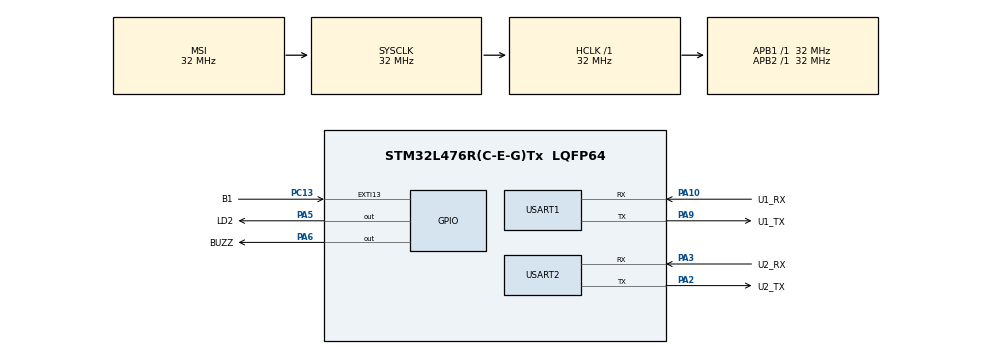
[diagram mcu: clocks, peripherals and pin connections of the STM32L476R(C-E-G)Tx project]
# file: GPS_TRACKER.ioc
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Mcu.Family=STM32L4
Mcu.Name=STM32L476R(C-E-G)Tx
Mcu.Package=LQFP64
NVIC.EXTI15_10_IRQn=true\:0\:0\:false\:false\:true\:true\:true
NVIC.PriorityGroup=NVIC_PRIORITYGROUP_4
NVIC.TIM2_IRQn=true\:0\:0\:false\:false\:true\:true\:true
NVIC.TIM3_IRQn=true\:0\:0\:false\:false\:true\:true\:true
NVIC.USART1_IRQn=true\:0\:0\:false\:false\:true\:true\:true
NVIC.USART2_IRQn=true\:0\:0\:false\:false\:true\:true\:true
PA10.GPIO_Label=U1_RX
PA10.Mode=Asynchronous
PA10.Signal=USART1_RX
PA2.GPIO_Label=U2_TX
PA2.Mode=Asynchronous
PA2.Signal=USART2_TX
PA3.GPIO_Label=U2_RX
PA3.Mode=Asynchronous
PA3.Signal=USART2_RX
PA5.GPIO_Label=LD2
PA5.Signal=GPIO_Output
PA6.GPIO_Label=BUZZ
PA6.Signal=GPIO_Output
PA9.GPIO_Label=U1_TX
PA9.Mode=Asynchronous
PA9.Signal=USART1_TX
PC13.GPIO_Label=B1
PC13.GPIO_ModeDefaultEXTI=GPIO_MODE_IT_FALLING
PC13.Signal=GPXTI13
ProjectManager.HeapSize=0x200
ProjectManager.StackSize=0x400
ProjectManager.TargetToolchain=STM32CubeIDE
RCC.ADCFreq_Value=128000000
RCC.AHBFreq_Value=32000000
RCC.APB1Freq_Value=32000000
RCC.APB1TimFreq_Value=32000000
RCC.APB2Freq_Value=32000000
RCC.APB2TimFreq_Value=32000000
RCC.CortexFreq_Value=32000000
RCC.HCLKFreq_Value=32000000
RCC.HSE_VALUE=8000000
RCC.HSI_VALUE=16000000
RCC.LSE_VALUE=32768
RCC.MSIClockRange=RCC_MSIRANGE_10
RCC.MSI_VALUE=32000000
RCC.SYSCLKFreq_VALUE=32000000
RCC.USBFreq_Value=128000000
RCC.VCOOutputFreq_Value=256000000
TIM2.Period=999
TIM2.Prescaler=31
TIM3.Period=999
TIM3.Prescaler=31
USART1.VirtualMode-Asynchronous=VM_ASYNC
USART2.VirtualMode-Asynchronous=VM_ASYNC
VP_TIM2_VS_ClockSourceINT.Mode=Internal
VP_TIM3_VS_ClockSourceINT.Mode=Internal
board=custom

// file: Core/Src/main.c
/* USER CODE BEGIN Header */
/**
 ******************************************************************************
 * @file           : main.c
 * @brief          : Main program body
 ******************************************************************************
 * @attention
 *
 * <h2><center>&copy; Copyright (c) 2020 STMicroelectronics.
 * All rights reserved.</center></h2>
 *
 * This software component is licensed by ST under BSD 3-Clause license,
 * the "License"; You may not use this file except in compliance with the
 * License. You may obtain a copy of the License at:
 *                        opensource.org/licenses/BSD-3-Clause
 *
 ******************************************************************************
 */
/* USER CODE END Header */

#include "main.h"

/* USER CODE BEGIN Includes */

#include "tracker.h"
/* USER CODE END Includes */

TIM_HandleTypeDef htim2;
TIM_HandleTypeDef htim3;

UART_HandleTypeDef huart1;
UART_HandleTypeDef huart2;

/* USER CODE BEGIN PV */
but_fsm_t button;
tracker_fsm_t tracker;
/* USER CODE END PV */

void SystemClock_Config(void);
static void MX_GPIO_Init(void);
static void MX_TIM2_Init(void);
static void MX_TIM3_Init(void);
static void MX_USART1_UART_Init(void);
static void MX_USART2_UART_Init(void);

/* USER CODE BEGIN 0 */
void HAL_GPIO_EXTI_Callback(uint16_t GPIO_Pin)
{
	if ( button.state == STATE_BUT_WAITING ) {
		button.event = EVT_BUT_PRESSED;
		button.new_event = true;
	}
}

void HAL_UART_TxCpltCallback(UART_HandleTypeDef *huart) {
	if (huart->Instance == USART1) {
		if (tracker.state == STATE_TRACKER_SEND_REQUEST_GPS) {
			//HAL_GPIO_WritePin(LD2_GPIO_Port, LD2_Pin, 1);
			tracker_set_event(&tracker, EVT_TRACKER_GPS_REQUEST_SENT);
		}
	}
}

void HAL_UART_RxCpltCallback(UART_HandleTypeDef *huart)
{
	if (huart->Instance == USART1) {

		if (tracker.state == STATE_TRACKER_WAITING_GPS_RESPONSE) {
			tracker.flag.start_to_request_nmea_data = false;
			memcpy(tracker.data, tracker.buff.rx, ENOUGH_DATA_BYTES);
			memset(tracker.buff.rx, '\0', SIZE);
			tracker_set_event(&tracker, EVT_TRACKER_GPS_RESPONSE_RECEIVED);
		}
	}
}

void HAL_TIM_PeriodElapsedCallback(TIM_HandleTypeDef *htim) {

	if(htim->Instance == TIM2) { /* ONLY FOR BUTTON */
		if (button.start_countdown == true) {
			button.countdown++;
		}

		/* 10 mSeg elapsed*/
		if (button.countdown >= TICK) {
			button.countdown = 0;
			button.start_countdown = false;
			button.new_event = true;
			button.event = EVT_BUT_TIMEOUT;
		}
	}

	if (htim->Instance == TIM3) { /* ONLY FOR TRACKER */

		if ( tracker.flag.start_to_request_nmea_data == true ) {
			tracker.counter_request_nmea_data++;
		} else {
			tracker.counter_request_nmea_data = 0;
		}

		if ( tracker.counter_request_nmea_data >= 1000 ) {
			tracker.counter_request_nmea_data = 0;
			HAL_UART_Transmit_IT(&huart1, (uint8_t *)"AT+QGNSSRD=\"NMEA/RMC\"\r", strlen("AT+QGNSSRD=\"NMEA/RMC\"\r"));
		}

		if ( tracker.state == STATE_TRACKER_IDLE ) {
			if ( *tracker.time >= TIME_NEEDED_TO_ALARM ) { //two seconds
				tracker_set_event(&tracker, EVT_TRACKER_ALERT_ON);
			}

		}

		if ( tracker.flag.start_counter_request == true ) {
			tracker.counter_request++;
		} else {
			tracker.counter_request = 0;
		}

		if ( tracker.counter_request >= TIME_TO_START_SYSTEM ) {
			tracker_set_event(&tracker, EVT_TRACKER_TIMEOUT_REQUEST_GPS);
		}

	}
}

/* USER CODE END 0 */

int main(void)
{

	/* MCU Configuration--------------------------------------------------------*/

	/* Reset of all peripherals, Initializes the Flash interface and the Systick. */
	HAL_Init();

	/* Configure the system clock */
	SystemClock_Config();

	/* Initialize all configured peripherals */
	MX_GPIO_Init();
	MX_TIM2_Init();
	MX_TIM3_Init();
	MX_USART1_UART_Init();
	MX_USART2_UART_Init();
	/* USER CODE BEGIN 2 */
	HAL_TIM_Base_Start_IT(&htim2);
	HAL_TIM_Base_Start_IT(&htim3);
	but_fsm_init(&button);
	tracker_fsm_init(&tracker, &button);
	/* USER CODE END 2 */

	/* Infinite loop */
	/* USER CODE BEGIN WHILE */
	while (1)
	{

		but_fsm_run(&button);
		tracker_fsm_run(&tracker);

		/* USER CODE END WHILE */

	}
}

void SystemClock_Config(void)
{
	RCC_OscInitTypeDef RCC_OscInitStruct = {0};
	RCC_ClkInitTypeDef RCC_ClkInitStruct = {0};
	RCC_PeriphCLKInitTypeDef PeriphClkInit = {0};

	/** Initializes the CPU, AHB and APB busses clocks
	 */
	RCC_OscInitStruct.OscillatorType = RCC_OSCILLATORTYPE_MSI;
	RCC_OscInitStruct.MSIState = RCC_MSI_ON;
	RCC_OscInitStruct.MSICalibrationValue = 0;
	RCC_OscInitStruct.MSIClockRange = RCC_MSIRANGE_10;
	RCC_OscInitStruct.PLL.PLLState = RCC_PLL_NONE;
	if (HAL_RCC_OscConfig(&RCC_OscInitStruct) != HAL_OK)
	{
		Error_Handler();
	}
	/** Initializes the CPU, AHB and APB busses clocks
	 */
	RCC_ClkInitStruct.ClockType = RCC_CLOCKTYPE_HCLK|RCC_CLOCKTYPE_SYSCLK
			|RCC_CLOCKTYPE_PCLK1|RCC_CLOCKTYPE_PCLK2;
	RCC_ClkInitStruct.SYSCLKSource = RCC_SYSCLKSOURCE_MSI;
	RCC_ClkInitStruct.AHBCLKDivider = RCC_SYSCLK_DIV1;
	RCC_ClkInitStruct.APB1CLKDivider = RCC_HCLK_DIV1;
	RCC_ClkInitStruct.APB2CLKDivider = RCC_HCLK_DIV1;

	if (HAL_RCC_ClockConfig(&RCC_ClkInitStruct, FLASH_LATENCY_1) != HAL_OK)
	{
		Error_Handler();
	}
	PeriphClkInit.PeriphClockSelection = RCC_PERIPHCLK_USART1|RCC_PERIPHCLK_USART2;
	PeriphClkInit.Usart1ClockSelection = RCC_USART1CLKSOURCE_PCLK2;
	PeriphClkInit.Usart2ClockSelection = RCC_USART2CLKSOURCE_PCLK1;
	if (HAL_RCCEx_PeriphCLKConfig(&PeriphClkInit) != HAL_OK)
	{
		Error_Handler();
	}
	/** Configure the main internal regulator output voltage
	 */
	if (HAL_PWREx_ControlVoltageScaling(PWR_REGULATOR_VOLTAGE_SCALE1) != HAL_OK)
	{
		Error_Handler();
	}
}

static void MX_TIM2_Init(void)
{

	TIM_ClockConfigTypeDef sClockSourceConfig = {0};
	TIM_MasterConfigTypeDef sMasterConfig = {0};

	htim2.Instance = TIM2;
	htim2.Init.Prescaler = 31;
	htim2.Init.CounterMode = TIM_COUNTERMODE_UP;
	htim2.Init.Period = 999;
	htim2.Init.ClockDivision = TIM_CLOCKDIVISION_DIV1;
	htim2.Init.AutoReloadPreload = TIM_AUTORELOAD_PRELOAD_DISABLE;
	if (HAL_TIM_Base_Init(&htim2) != HAL_OK)
	{
		Error_Handler();
	}
	sClockSourceConfig.ClockSource = TIM_CLOCKSOURCE_INTERNAL;
	if (HAL_TIM_ConfigClockSource(&htim2, &sClockSourceConfig) != HAL_OK)
	{
		Error_Handler();
	}
	sMasterConfig.MasterOutputTrigger = TIM_TRGO_RESET;
	sMasterConfig.MasterSlaveMode = TIM_MASTERSLAVEMODE_DISABLE;
	if (HAL_TIMEx_MasterConfigSynchronization(&htim2, &sMasterConfig) != HAL_OK)
	{
		Error_Handler();
	}

}

static void MX_TIM3_Init(void)
{

	TIM_ClockConfigTypeDef sClockSourceConfig = {0};
	TIM_MasterConfigTypeDef sMasterConfig = {0};

	htim3.Instance = TIM3;
	htim3.Init.Prescaler = 31;
	htim3.Init.CounterMode = TIM_COUNTERMODE_UP;
	htim3.Init.Period = 999;
	htim3.Init.ClockDivision = TIM_CLOCKDIVISION_DIV1;
	htim3.Init.AutoReloadPreload = TIM_AUTORELOAD_PRELOAD_DISABLE;
	if (HAL_TIM_Base_Init(&htim3) != HAL_OK)
	{
		Error_Handler();
	}
	sClockSourceConfig.ClockSource = TIM_CLOCKSOURCE_INTERNAL;
	if (HAL_TIM_ConfigClockSource(&htim3, &sClockSourceConfig) != HAL_OK)
	{
		Error_Handler();
	}
	sMasterConfig.MasterOutputTrigger = TIM_TRGO_RESET;
	sMasterConfig.MasterSlaveMode = TIM_MASTERSLAVEMODE_DISABLE;
	if (HAL_TIMEx_MasterConfigSynchronization(&htim3, &sMasterConfig) != HAL_OK)
	{
		Error_Handler();
	}

}

static void MX_USART1_UART_Init(void)
{

	huart1.Instance = USART1;
	huart1.Init.BaudRate = 115200;
	huart1.Init.WordLength = UART_WORDLENGTH_8B;
	huart1.Init.StopBits = UART_STOPBITS_1;
	huart1.Init.Parity = UART_PARITY_NONE;
	huart1.Init.Mode = UART_MODE_TX_RX;
	huart1.Init.HwFlowCtl = UART_HWCONTROL_NONE;
	huart1.Init.OverSampling = UART_OVERSAMPLING_16;
	huart1.Init.OneBitSampling = UART_ONE_BIT_SAMPLE_DISABLE;
	huart1.AdvancedInit.AdvFeatureInit = UART_ADVFEATURE_NO_INIT;
	if (HAL_UART_Init(&huart1) != HAL_OK)
	{
		Error_Handler();
	}

}

static void MX_USART2_UART_Init(void)
{

	huart2.Instance = USART2;
	huart2.Init.BaudRate = 115200;
	huart2.Init.WordLength = UART_WORDLENGTH_8B;
	huart2.Init.StopBits = UART_STOPBITS_1;
	huart2.Init.Parity = UART_PARITY_NONE;
	huart2.Init.Mode = UART_MODE_TX_RX;
	huart2.Init.HwFlowCtl = UART_HWCONTROL_NONE;
	huart2.Init.OverSampling = UART_OVERSAMPLING_16;
	huart2.Init.OneBitSampling = UART_ONE_BIT_SAMPLE_DISABLE;
	huart2.AdvancedInit.AdvFeatureInit = UART_ADVFEATURE_NO_INIT;
	if (HAL_UART_Init(&huart2) != HAL_OK)
	{
		Error_Handler();
	}

}

static void MX_GPIO_Init(void)
{
	GPIO_InitTypeDef GPIO_InitStruct = {0};

	/* GPIO Ports Clock Enable */
	__HAL_RCC_GPIOC_CLK_ENABLE();
	__HAL_RCC_GPIOA_CLK_ENABLE();

	/*Configure GPIO pin Output Level */
	HAL_GPIO_WritePin(GPIOA, LD2_Pin|BUZZ_Pin, GPIO_PIN_RESET);

	/*Configure GPIO pin : B1_Pin */
	GPIO_InitStruct.Pin = B1_Pin;
	GPIO_InitStruct.Mode = GPIO_MODE_IT_FALLING;
	GPIO_InitStruct.Pull = GPIO_NOPULL;
	HAL_GPIO_Init(B1_GPIO_Port, &GPIO_InitStruct);

	/*Configure GPIO pins : LD2_Pin BUZZ_Pin */
	GPIO_InitStruct.Pin = LD2_Pin|BUZZ_Pin;
	GPIO_InitStruct.Mode = GPIO_MODE_OUTPUT_PP;
	GPIO_InitStruct.Pull = GPIO_NOPULL;
	GPIO_InitStruct.Speed = GPIO_SPEED_FREQ_LOW;
	HAL_GPIO_Init(GPIOA, &GPIO_InitStruct);

	/* EXTI interrupt init*/
	HAL_NVIC_SetPriority(EXTI15_10_IRQn, 0, 0);
	HAL_NVIC_EnableIRQ(EXTI15_10_IRQn);

}

void Error_Handler(void)
{
}

/************************ (C) COPYRIGHT STMicroelectronics *****END OF FILE****/
